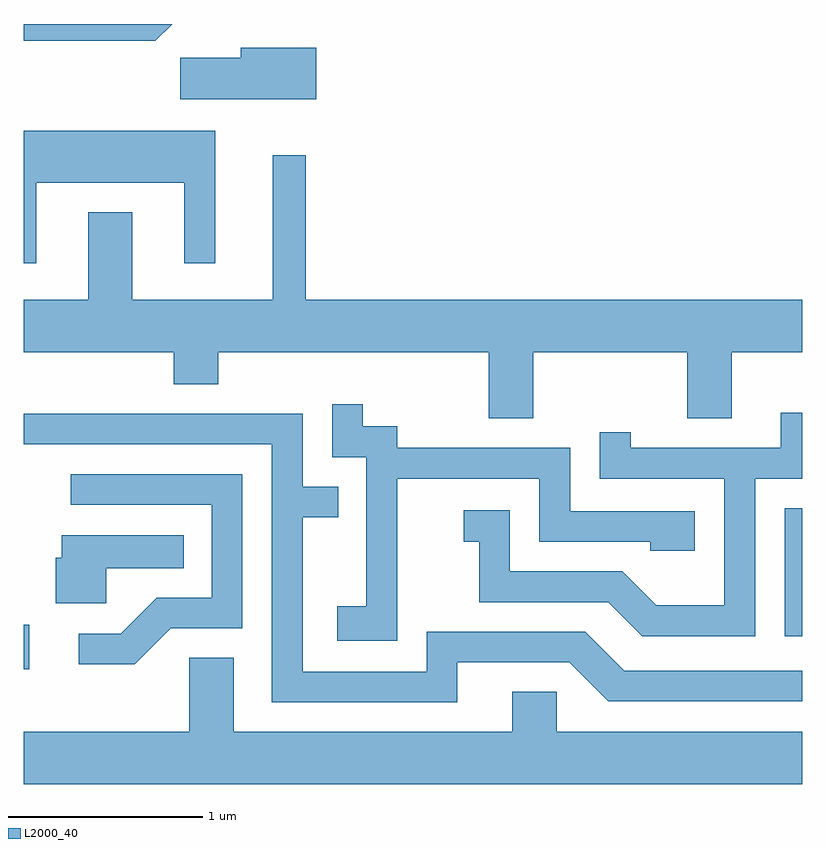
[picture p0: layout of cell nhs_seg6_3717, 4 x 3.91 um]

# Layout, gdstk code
import gdstk
lib = gdstk.Library(unit=1e-6, precision=1e-09)
def R(c, l, rs):  # rectangles x0, y0, x1, y1
    for r in rs: c.add(gdstk.rectangle(r[:2], r[2:], *l))
def P(c, l, *ps):  # polygons
    for p in ps: c.add(gdstk.Polygon(p, *l))
L2000_40 = (2000, 40)

nhs_seg6_3717 = lib.new_cell('nhs_seg6_3717')
R(nhs_seg6_3717, L2000_40, [(297.611,1552.846,297.639,1553.074), (301.521,1553.016,301.611,1553.674)])
P(nhs_seg6_3717, L2000_40, [(298.373,1556.162),(297.611,1556.162),(297.611,1556.076),(298.287,1556.076)],
  [(299.114,1556.039),(298.726,1556.039),(298.726,1555.989),(298.416,1555.989),(298.416,1555.776),(299.114,1555.776)],
  [(297.674,1555.346),(298.436,1555.346),(298.436,1554.933),(298.594,1554.933),(298.594,1555.614),(297.611,1555.614),(297.611,1554.933),(297.674,1554.933)],
  [(300.229,1554.476),(301.021,1554.476),(301.021,1554.136),(301.249,1554.136),(301.249,1554.476),(301.611,1554.476),(301.611,1554.744),(299.059,1554.744),(299.059,1555.488),(298.891,1555.488),(298.891,1554.744),(298.169,1554.744),(298.169,1555.194),(297.941,1555.194),(297.941,1554.744),(297.611,1554.744),(297.611,1554.476),(298.381,1554.476),(298.381,1554.311),(298.609,1554.311),(298.609,1554.476),(300.001,1554.476),(300.001,1554.136),(300.229,1554.136)],
  [(299.529,1553.826),(300.261,1553.826),(300.261,1553.501),(300.831,1553.501),(300.831,1553.456),(301.059,1553.456),(301.059,1553.659),(300.419,1553.659),(300.419,1553.984),(299.529,1553.984),(299.529,1554.094),(299.354,1554.094),(299.354,1554.208),(299.196,1554.208),(299.196,1553.936),(299.371,1553.936),(299.371,1553.169),(299.221,1553.169),(299.221,1552.991),(299.529,1552.991)],
  [(301.369,1553.826),(301.611,1553.826),(301.611,1554.163),(301.501,1554.163),(301.501,1553.984),(300.729,1553.984),(300.729,1554.063),(300.571,1554.063),(300.571,1553.826),(301.211,1553.826),(301.211,1553.174),(300.862,1553.174),(300.687,1553.349),(300.109,1553.349),(300.109,1553.664),(299.873,1553.664),(299.873,1553.501),(299.951,1553.501),(299.951,1553.191),(300.614,1553.191),(300.789,1553.016),(301.369,1553.016)],
  [(299.839,1552.881),(300.414,1552.881),(300.614,1552.681),(301.611,1552.681),(301.611,1552.839),(300.697,1552.839),(300.497,1553.039),(299.681,1553.039),(299.681,1552.834),(299.044,1552.834),(299.044,1553.626),(299.228,1553.626),(299.228,1553.784),(299.044,1553.784),(299.044,1554.159),(297.611,1554.159),(297.611,1554.001),(298.886,1554.001),(298.886,1552.676),(299.839,1552.676)],
  [(298.367,1553.056),(298.734,1553.056),(298.734,1553.849),(297.853,1553.849),(297.853,1553.691),(298.576,1553.691),(298.576,1553.214),(298.294,1553.214),(298.109,1553.029),(297.893,1553.029),(297.893,1552.871),(298.182,1552.871)],
  [(298.034,1553.366),(298.433,1553.366),(298.433,1553.534),(297.806,1553.534),(297.806,1553.419),(297.776,1553.419),(297.776,1553.186),(298.034,1553.186)],
  [(301.611,1552.524),(300.349,1552.524),(300.349,1552.729),(300.121,1552.729),(300.121,1552.524),(298.689,1552.524),(298.689,1552.904),(298.461,1552.904),(298.461,1552.524),(297.611,1552.524),(297.611,1552.256),(301.611,1552.256)])

lib.write_gds('nhs_seg6_3717.gds')
